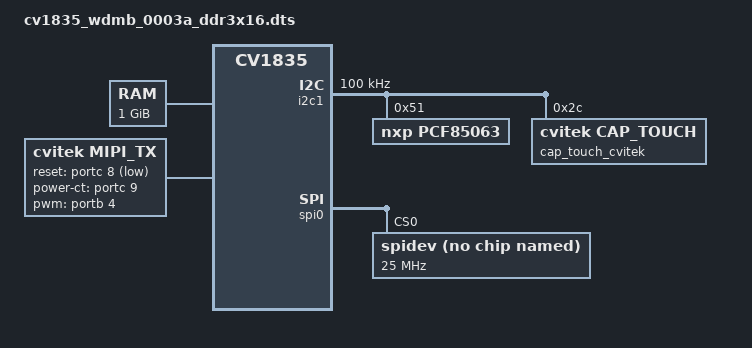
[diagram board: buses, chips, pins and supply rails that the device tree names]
#include "cv1835_asic.dtsi"

/ {
	memory {
		reg = <0x1 0x00000000 0x0 0x40000000>; // 1GB
		device_type = "memory";
	};

	reserved-memory {
	  #size-cells = <0x2>;
	  #address-cells = <0x2>;
	  ranges;

		cma_reserved: linux,cma {
			compatible = "shared-dma-pool";
			reusable;
			size = <0x0 0x600000>; // 6MB
			alignment = <0x0 0x200000>; // 2MB
			linux,cma-default;
		};

		ion_reserved: ion {
			compatible = "ion-region";
			size = <0x0 0x1C400000>; //352MB + vip 100MB
		};

		vcodec_reserved: vcodec {
			alloc-ranges = <0x1 0x00000000 0 0xF0000000>;
			size = <0x0 0x00180000>; // 1.5MB
			no-map;
		};
	};

	/delete-node/ cvi-spif@10000000;
	/delete-node/ cv-spinf@4060000;
	// /delete-node/ i2c@04020000;
	/delete-node/ ethernet@04520000;
	/delete-node/ i2s@04110000;
	/delete-node/ i2s@04120000;
	/delete-node/ sound_ext1;
	/delete-node/ sound_ext2;
	/delete-node/ sound_PDM;

	mipi_rx: cif {
		compatible = "cvitek,cif";
		reg = <0x0 0x0a0c2000 0x0 0x2000>, <0x0 0x0300b000 0x0 0x1000>,
			<0x0 0x0a0c4000 0x0 0x2000>, <0x0 0x0300d000 0x0 0x1000>;
		reg-names = "csi_mac0", "csi_wrap0", "csi_mac1", "csi_wrap1";
		interrupts = <GIC_SPI 155 IRQ_TYPE_LEVEL_HIGH>, <GIC_SPI 156 IRQ_TYPE_LEVEL_HIGH>;
		interrupt-names = "csi0", "csi1";
		snsr-reset = <&portc 31 GPIO_ACTIVE_LOW>, <&portd 7 GPIO_ACTIVE_LOW>;
		resets = <&rst RST_CSIPHY0>, <&rst RST_CSIPHY1>,
			<&rst RST_CSIPHY0RST_APB>, <&rst RST_CSIPHY1RST_APB>;
		reset-names = "phy0", "phy1", "phy-apb0", "phy-apb1";
		clocks = <&clk CV1835_CLK_CAM0>, <&clk CV1835_CLK_CAM1>, <&clk CV1835_CLK_SRC_VIP_SYS_2>,
			<&clk CV1835_CLK_DIV_0_SRC_VIP_SYS_2>, <&clk CV1835_CLK_DIV_1_SRC_VIP_SYS_2>;
		clock-names = "clk_cam0", "clk_cam1", "clk_sys_2", "clk_div_0_src_vip_sys_2",
				"clk_div_1_src_vip_sys_2";
	};

	mipi_tx {
		compatible = "cvitek,mipi_tx";
		clocks = <&clk CV1835_CLK_DSI_MAC_VIP>, <&clk CV1835_CLK_DISP_VIP>;
		clock-names = "clk_dsi", "clk_disp";
		reset-gpio = <&portc 8 GPIO_ACTIVE_LOW>;
		power-ct-gpio = <&portc 9 GPIO_ACTIVE_HIGH>;
		pwm-gpio = <&portb 4 GPIO_ACTIVE_HIGH>;
	};

	aliases {
		/delete-property/ ethernet1;
	};

	/delete-node/ i2c@04010000;
	i2c1: i2c@04010000 {
		compatible = "snps,designware-i2c";
		clocks = <&clk CV1835_CLK_I2C>;
		reg = <0x0 0x04010000 0x0 0x1000>;
		interrupts = <GIC_SPI 73 IRQ_TYPE_LEVEL_HIGH>;
		clock-frequency = <100000>;

		#size-cells = <0x0>;
		#address-cells = <0x1>;
		resets = <&rst RST_I2C1>;
		reset-names = "i2c1";

		pcf85063: pcf85063@0x51 {
			compatible = "nxp,pcf85063";
			reg = <0x51>;
		};
		cap_touch_cvitek:cap_touch@2c {
			compatible = "cvitek,cap_touch";
			reg = <0x2c>;
			status = "okay";
		};
	};

	spi0:spi0@04180000 {
		compatible = "snps,dw-apb-ssi";
		reg = <0x0 0x04180000 0x0 0x10000>;
		interrupts = <GIC_SPI 65 IRQ_TYPE_LEVEL_HIGH>;
		clocks = <&clk CV1835_CLK_SPI>;
		#address-cells = <1>;
		#size-cells = <0>;
		num-cs = <1>;
		//switch-gpios = <&port0a 7 0>;
		spidev: spidev@0 {
			compatible = "rohm,dh2228fv";
			//memory-region = <&spi_lcd_reserved>;
			spi-max-frequency = <25000000>;
			reg = <0>;
		};
	};
};

